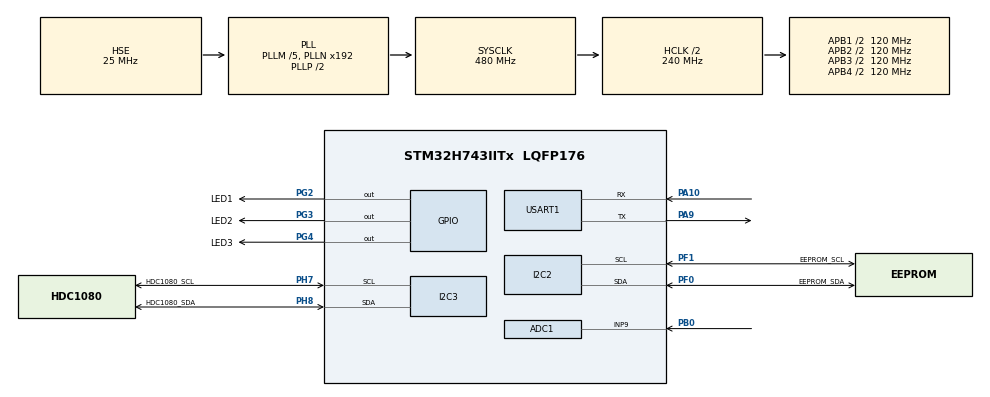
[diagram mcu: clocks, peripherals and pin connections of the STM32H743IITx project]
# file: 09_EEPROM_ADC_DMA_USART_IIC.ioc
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ADC1.Channel-0\#ChannelRegularConversion=ADC_CHANNEL_9
ADC1.ClockPrescaler=ADC_CLOCK_ASYNC_DIV10
ADC1.ContinuousConvMode=ENABLE
ADC1.ConversionDataManagement=ADC_CONVERSIONDATA_DMA_CIRCULAR
ADC1.NbrOfConversionFlag=1
ADC1.OffsetNumber-0\#ChannelRegularConversion=ADC_OFFSET_NONE
ADC1.Rank-0\#ChannelRegularConversion=1
ADC1.Resolution=ADC_RESOLUTION_14B
ADC1.SamplingTime-0\#ChannelRegularConversion=ADC_SAMPLETIME_1CYCLE_5
ADC1.master=1
Dma.ADC1.0.Direction=DMA_PERIPH_TO_MEMORY
Dma.ADC1.0.EventEnable=DISABLE
Dma.ADC1.0.FIFOMode=DMA_FIFOMODE_DISABLE
Dma.ADC1.0.Instance=DMA1_Stream0
Dma.ADC1.0.MemDataAlignment=DMA_MDATAALIGN_HALFWORD
Dma.ADC1.0.MemInc=DMA_MINC_ENABLE
Dma.ADC1.0.Mode=DMA_CIRCULAR
Dma.ADC1.0.PeriphDataAlignment=DMA_PDATAALIGN_HALFWORD
Dma.ADC1.0.PeriphInc=DMA_PINC_DISABLE
Dma.ADC1.0.Polarity=HAL_DMAMUX_REQ_GEN_RISING
Dma.ADC1.0.Priority=DMA_PRIORITY_LOW
Dma.ADC1.0.RequestNumber=1
Dma.ADC1.0.SignalID=NONE
Dma.ADC1.0.SyncEnable=DISABLE
Dma.ADC1.0.SyncPolarity=HAL_DMAMUX_SYNC_NO_EVENT
Dma.ADC1.0.SyncRequestNumber=1
Dma.ADC1.0.SyncSignalID=NONE
Dma.Request0=ADC1
I2C2.Timing=0x307075B1
I2C3.Timing=0x307075B1
Mcu.Family=STM32H7
Mcu.Name=STM32H743IITx
Mcu.Package=LQFP176
NVIC.ADC_IRQn=true\:0\:0\:false\:false\:true\:true\:true
NVIC.DMA1_Stream0_IRQn=true\:0\:0\:false\:false\:true\:false\:true
NVIC.PriorityGroup=NVIC_PRIORITYGROUP_4
NVIC.TIM3_IRQn=true\:0\:0\:false\:false\:true\:true\:true
NVIC.USART1_IRQn=true\:0\:0\:false\:false\:true\:true\:true
PA10.Mode=Asynchronous
PA10.Signal=USART1_RX
PA9.Mode=Asynchronous
PA9.Signal=USART1_TX
PB0.Signal=ADCx_INP9
PC14-OSC32_IN\ (OSC32_IN).Mode=LSE-External-Oscillator
PC14-OSC32_IN\ (OSC32_IN).Signal=RCC_OSC32_IN
PC15-OSC32_OUT\ (OSC32_OUT).Mode=LSE-External-Oscillator
PC15-OSC32_OUT\ (OSC32_OUT).Signal=RCC_OSC32_OUT
PF0.GPIO_Label=EEPROM_SDA
PF0.Mode=I2C
PF0.Signal=I2C2_SDA
PF1.GPIO_Label=EEPROM_SCL
PF1.Mode=I2C
PF1.Signal=I2C2_SCL
PG2.GPIO_Label=LED1
PG2.PinState=GPIO_PIN_SET
PG2.Signal=GPIO_Output
PG3.GPIO_Label=LED2
PG3.PinState=GPIO_PIN_SET
PG3.Signal=GPIO_Output
PG4.GPIO_Label=LED3
PG4.PinState=GPIO_PIN_SET
PG4.Signal=GPIO_Output
PH0-OSC_IN\ (PH0).Mode=HSE-External-Oscillator
PH0-OSC_IN\ (PH0).Signal=RCC_OSC_IN
PH1-OSC_OUT\ (PH1).Mode=HSE-External-Oscillator
PH1-OSC_OUT\ (PH1).Signal=RCC_OSC_OUT
PH7.GPIO_Label=HDC1080_SCL
PH7.Mode=I2C
PH7.Signal=I2C3_SCL
PH8.GPIO_Label=HDC1080_SDA
PH8.Mode=I2C
PH8.Signal=I2C3_SDA
ProjectManager.HeapSize=0x200
ProjectManager.StackSize=0x400
ProjectManager.TargetToolchain=STM32CubeIDE
RCC.ADCFreq_Value=150000000
RCC.APB1Freq_Value=120000000
RCC.APB2Freq_Value=120000000
RCC.APB3Freq_Value=120000000
RCC.APB4Freq_Value=120000000
RCC.CortexFreq_Value=480000000
RCC.D1PPRE=RCC_APB3_DIV2
RCC.D2PPRE1=RCC_APB1_DIV2
RCC.D2PPRE2=RCC_APB2_DIV2
RCC.D3PPRE=RCC_APB4_DIV2
RCC.DIVM1=5
RCC.DIVM2=2
RCC.DIVN1=192
RCC.DIVN2=12
RCC.DIVP2=1
RCC.HCLKFreq_Value=240000000
RCC.HPRE=RCC_HCLK_DIV2
RCC.PLL2FRACN=0
RCC.PLL3FRACN=0
RCC.PLLFRACN=0
RCC.PLLSourceVirtual=RCC_PLLSOURCE_HSE
RCC.SYSCLKFreq_VALUE=480000000
RCC.SYSCLKSource=RCC_SYSCLKSOURCE_PLLCLK
RCC.USBFreq_Value=480000000
SH.ADCx_INP9.0=ADC1_INP9,IN9-Single-Ended
TIM3.Period=10000-1
TIM3.Prescaler=24000-1
USART1.VirtualMode-Asynchronous=VM_ASYNC
VP_TIM3_VS_ClockSourceINT.Mode=Internal
board=custom

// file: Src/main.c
/* USER CODE BEGIN Header */
/**
  ******************************************************************************
  * @file           : main.c
  * @brief          : Main program body
  ******************************************************************************
  * @attention
  *
  * <h2><center>&copy; Copyright (c) 2020 STMicroelectronics.
  * All rights reserved.</center></h2>
  *
  * This software component is licensed by ST under BSD 3-Clause license,
  * the "License"; You may not use this file except in compliance with the
  * License. You may obtain a copy of the License at:
  *                        opensource.org/licenses/BSD-3-Clause
  *
  ******************************************************************************
  */
/* USER CODE END Header */

#include "main.h"
#include "adc.h"
#include "dma.h"
#include "i2c.h"
#include "tim.h"
#include "usart.h"
#include "gpio.h"
#include "math.h"

/* USER CODE BEGIN PD */
#define HDC1080_ADDRESS 0x40 << 1
#define TEMPERATURE     0x00
#define HUMIDITY        0x01

#define B_CONSTANT      3455.0
#define KELVIN          273.15
#define RESOLUTION      4096.0
/* USER CODE END PD */

void SystemClock_Config(void);

/* USER CODE BEGIN 0 */
uint32_t Main_loop = 0;
uint16_t Temperature_T = 0;
uint16_t Humidity_H    = 0;
uint8_t  Temperature_Humidity_Buffer[5] = {0};
float Temperature_Read;
float Humidity_Read;
float tempValue = 0;
/* USER CODE END 0 */

int main(void)
{

  /* MCU Configuration--------------------------------------------------------*/

  /* Reset of all peripherals, Initializes the Flash interface and the Systick. */
  HAL_Init();

  /* Configure the system clock */
  SystemClock_Config();

  /* Initialize all configured peripherals */
  MX_GPIO_Init();
  MX_DMA_Init();
  MX_ADC1_Init();
  MX_I2C2_Init();
  MX_I2C3_Init();
  MX_TIM3_Init();
  MX_USART1_UART_Init();
  /* USER CODE BEGIN 2 */
  printf("System Go !!!\r\n");
  HAL_ADC_Start_DMA(&hadc1, ADC_Value, ADC_CONVERTED_DATA_BUFFER_SIZE);
  /* USER CODE END 2 */

  /* Infinite loop */
  while (1)
  {

    /* USER CODE BEGIN 3 */
      Temperature_Humidity_Buffer[0] = TEMPERATURE;
      HAL_I2C_Master_Transmit(&hi2c3, HDC1080_ADDRESS, Temperature_Humidity_Buffer, 1, 100);
      HAL_Delay(20);
      HAL_I2C_Master_Receive(&hi2c3, HDC1080_ADDRESS, Temperature_Humidity_Buffer, 2 ,100);
      Temperature_T = Temperature_Humidity_Buffer[0] << 8 | Temperature_Humidity_Buffer[1];
      Temperature_Read = (((float)Temperature_T / 65536) * 165.0) - 40.0;
      printf("\nTemperature is: %.2f\r\n", Temperature_Read);

      Temperature_Humidity_Buffer[0] = HUMIDITY;
      HAL_I2C_Master_Transmit(&hi2c3, HDC1080_ADDRESS, Temperature_Humidity_Buffer, 1, 100);
      HAL_Delay(20);
      HAL_I2C_Master_Receive(&hi2c3, HDC1080_ADDRESS, Temperature_Humidity_Buffer, 2 ,100);
      Humidity_H = Temperature_Humidity_Buffer[0] << 8 | Temperature_Humidity_Buffer[1];
      Humidity_Read = ((float)Humidity_H / 65536) * 100;
      printf("Humidity is: %.2f\r\n", Humidity_Read);
      printf("ADC_Value is: %lu\r\n", ADC_Value[0]);
      printf("ADC_Value is: %.2f\r\n", ADC_Value[0]*3.3/4096);

      /*
       * 计算公式 Rt = R * EXP(B * ((1 / T1) - (1 / T2)))
       * Rt : 热敏电阻在T1温度下的阻值 (Rt = (ADC*6200) / (4096 - ADC)) (ADC即采样值,12位ADC 2^12)
       * R  : 热敏电阻在T2常温下的标称阻值 （10KΩ）
       * B  : B-Constant常量 Data sheet给出   此处B（3455K）
       * T1 : NTC当前的温度     (K = 273.15（绝对温度） + 摄氏度)
       * T2 : NTC常温下的温度 (K = 273.15（绝对温度） + 摄氏度)
       *  */
      tempValue = (B_CONSTANT / (B_CONSTANT/(KELVIN + 25.0) +
              log((double)ADC_Value[0]*6200.0 / ((RESOLUTION - (double)ADC_Value[0])*10000)))) - KELVIN;
      printf("NTC Temperature is : %.2f\r\n", tempValue);
      HAL_Delay(1000);
  }
  /* USER CODE END 3 */
}

void SystemClock_Config(void)
{
  RCC_OscInitTypeDef RCC_OscInitStruct = {0};
  RCC_ClkInitTypeDef RCC_ClkInitStruct = {0};
  RCC_PeriphCLKInitTypeDef PeriphClkInitStruct = {0};

  /** Supply configuration update enable
  */
  HAL_PWREx_ConfigSupply(PWR_LDO_SUPPLY);
  /** Configure the main internal regulator output voltage
  */
  __HAL_PWR_VOLTAGESCALING_CONFIG(PWR_REGULATOR_VOLTAGE_SCALE0);

  while(!__HAL_PWR_GET_FLAG(PWR_FLAG_VOSRDY)) {}
  /** Macro to configure the PLL clock source
  */
  __HAL_RCC_PLL_PLLSOURCE_CONFIG(RCC_PLLSOURCE_HSE);
  /** Initializes the CPU, AHB and APB busses clocks
  */
  RCC_OscInitStruct.OscillatorType = RCC_OSCILLATORTYPE_HSE;
  RCC_OscInitStruct.HSEState = RCC_HSE_ON;
  RCC_OscInitStruct.PLL.PLLState = RCC_PLL_ON;
  RCC_OscInitStruct.PLL.PLLSource = RCC_PLLSOURCE_HSE;
  RCC_OscInitStruct.PLL.PLLM = 5;
  RCC_OscInitStruct.PLL.PLLN = 192;
  RCC_OscInitStruct.PLL.PLLP = 2;
  RCC_OscInitStruct.PLL.PLLQ = 2;
  RCC_OscInitStruct.PLL.PLLR = 2;
  RCC_OscInitStruct.PLL.PLLRGE = RCC_PLL1VCIRANGE_2;
  RCC_OscInitStruct.PLL.PLLVCOSEL = RCC_PLL1VCOWIDE;
  RCC_OscInitStruct.PLL.PLLFRACN = 0;
  if (HAL_RCC_OscConfig(&RCC_OscInitStruct) != HAL_OK)
  {
    Error_Handler();
  }
  /** Initializes the CPU, AHB and APB busses clocks
  */
  RCC_ClkInitStruct.ClockType = RCC_CLOCKTYPE_HCLK|RCC_CLOCKTYPE_SYSCLK
                              |RCC_CLOCKTYPE_PCLK1|RCC_CLOCKTYPE_PCLK2
                              |RCC_CLOCKTYPE_D3PCLK1|RCC_CLOCKTYPE_D1PCLK1;
  RCC_ClkInitStruct.SYSCLKSource = RCC_SYSCLKSOURCE_PLLCLK;
  RCC_ClkInitStruct.SYSCLKDivider = RCC_SYSCLK_DIV1;
  RCC_ClkInitStruct.AHBCLKDivider = RCC_HCLK_DIV2;
  RCC_ClkInitStruct.APB3CLKDivider = RCC_APB3_DIV2;
  RCC_ClkInitStruct.APB1CLKDivider = RCC_APB1_DIV2;
  RCC_ClkInitStruct.APB2CLKDivider = RCC_APB2_DIV2;
  RCC_ClkInitStruct.APB4CLKDivider = RCC_APB4_DIV2;

  if (HAL_RCC_ClockConfig(&RCC_ClkInitStruct, FLASH_LATENCY_4) != HAL_OK)
  {
    Error_Handler();
  }
  PeriphClkInitStruct.PeriphClockSelection = RCC_PERIPHCLK_USART1|RCC_PERIPHCLK_I2C2
                              |RCC_PERIPHCLK_I2C3|RCC_PERIPHCLK_ADC;
  PeriphClkInitStruct.PLL2.PLL2M = 2;
  PeriphClkInitStruct.PLL2.PLL2N = 12;
  PeriphClkInitStruct.PLL2.PLL2P = 1;
  PeriphClkInitStruct.PLL2.PLL2Q = 2;
  PeriphClkInitStruct.PLL2.PLL2R = 2;
  PeriphClkInitStruct.PLL2.PLL2RGE = RCC_PLL2VCIRANGE_3;
  PeriphClkInitStruct.PLL2.PLL2VCOSEL = RCC_PLL2VCOMEDIUM;
  PeriphClkInitStruct.PLL2.PLL2FRACN = 0;
  PeriphClkInitStruct.Usart16ClockSelection = RCC_USART16CLKSOURCE_D2PCLK2;
  PeriphClkInitStruct.I2c123ClockSelection = RCC_I2C123CLKSOURCE_D2PCLK1;
  PeriphClkInitStruct.AdcClockSelection = RCC_ADCCLKSOURCE_PLL2;
  if (HAL_RCCEx_PeriphCLKConfig(&PeriphClkInitStruct) != HAL_OK)
  {
    Error_Handler();
  }
}

void Error_Handler(void)
{
}

/************************ (C) COPYRIGHT STMicroelectronics *****END OF FILE****/
